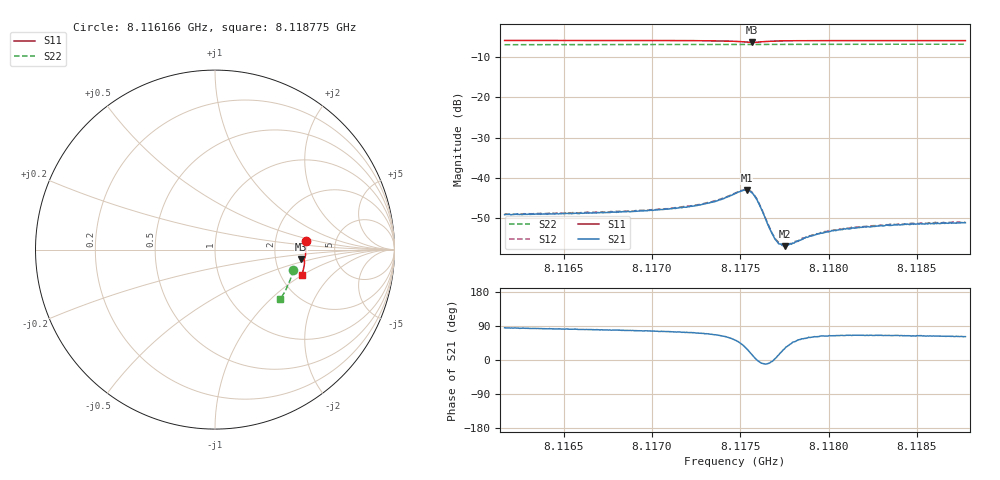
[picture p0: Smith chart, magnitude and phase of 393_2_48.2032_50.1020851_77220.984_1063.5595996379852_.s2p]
#  HZ  S  RI  R  50.00
! Rohde & Schwarz Vector Network Analyzer
! Rohde-Schwarz,ZNB20-2Port,1311601062101988,3.16
! Created: UTC 3/20/2024, 11:53:42 AM
! freq[Hz]  re:S11  im:S11  re:S21  im:S21  re:S12  im:S12  re:S22  im:S22
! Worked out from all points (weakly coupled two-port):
!   401 points, 8.116166 GHz to 8.118775 GHz, reference 50 ohm
!   highest |S21| = -42.99 dB at 8.117536 GHz (marker M1); lowest = -56.9 dB at 8.117751 GHz (marker M2)
!   lowest |S11| = -6.4 dB at 8.117568 GHz (marker M3), VSWR 2.84, Z = 139 - j19 ohm
!   |S11| at or under -10 dB: nowhere
!   |S22| runs from -7.0 to -6.8 dB; largest |S21 - S12| = 0.00019
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8.1161661e9  0.5049 0.0459  0.000296 0.0035  0.000382 0.00357  0.4349 -0.1125
8.1166031e9  0.5062 0.0128  0.000595 0.00362  0.000641 0.00368  0.4273 -0.1419
8.1168966e9  0.5058 -0.00973  0.000827 0.00377  0.00088 0.00379  0.4212 -0.1614
8.1170401e9  0.5052 -0.021  0.00103 0.00391  0.00106 0.00402  0.4179 -0.1708
8.1172814e9  0.5021 -0.0415  0.00157 0.00443  0.00167 0.00448  0.4117 -0.1866
8.1173596e9  0.4998 -0.0491  0.00204 0.00471  0.00215 0.00481  0.4097 -0.1917
8.1174705e9  0.4913 -0.0601  0.00388 0.0051  0.00398 0.00516  0.4062 -0.1989
8.1175097e9  0.4845 -0.0617  0.00521 0.00458  0.00531 0.00461  0.4048 -0.2013
8.1175357e9  0.4793 -0.0595  0.00613 0.00356  0.00629 0.00359  0.4039 -0.2027
8.1175553e9  0.4769 -0.0556  0.00643 0.00233  0.00662 0.00234  0.4033 -0.2036
8.1175684e9  0.4768 -0.0525  0.00633 0.00146  0.00649 0.00143  0.4029 -0.2041
8.1175879e9  0.4787 -0.0481  0.00569 0.000273  0.00579 0.000264  0.4025 -0.2052
8.1176075e9  0.4826 -0.0457  0.00471 -0.000386  0.00483 -0.000427  0.4022 -0.2064
8.1176662e9  0.493 -0.0486  0.00235 -0.000334  0.00242 -0.000332  0.4009 -0.2101
8.1176923e9  0.4954 -0.0519  0.00183 4.34e-05  0.00189 1.9e-05  0.4003 -0.2118
8.1177184e9  0.4969 -0.055  0.00148 0.000358  0.00155 0.000356  0.3995 -0.2136
8.117751e9  0.498 -0.0591  0.00125 0.000704  0.00127 0.000722  0.3985 -0.2157
8.1179075e9  0.4987 -0.0744  0.000944 0.00167  0.000987 0.00172  0.3937 -0.2256
8.1179858e9  0.4978 -0.0812  0.000958 0.00191  0.000984 0.00194  0.391 -0.2306
8.1180967e9  0.4965 -0.0903  0.000987 0.00212  0.00102 0.00213  0.3874 -0.2374
8.1183445e9  0.4928 -0.1094  0.0011 0.00234  0.00114 0.00242  0.3785 -0.2524
8.118775e9  0.4844 -0.141  0.00133 0.00246  0.00131 0.00254  0.362 -0.2779
